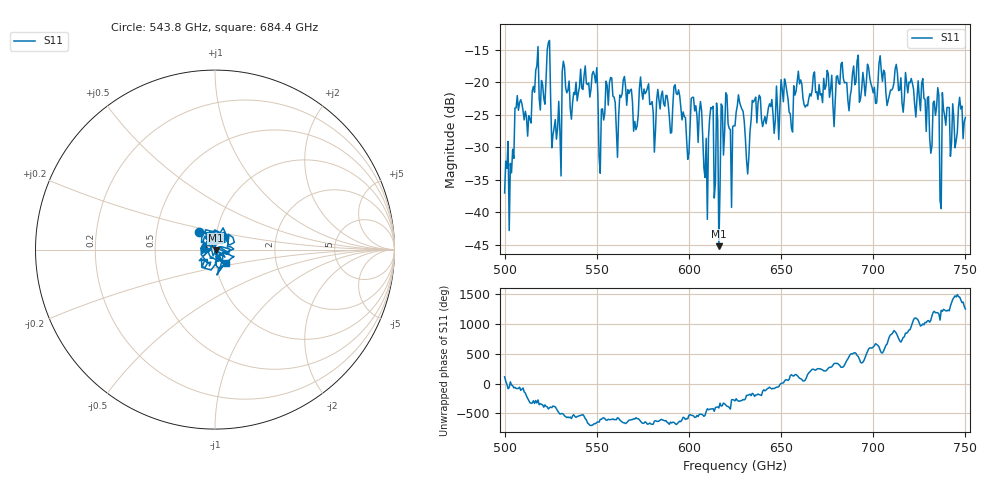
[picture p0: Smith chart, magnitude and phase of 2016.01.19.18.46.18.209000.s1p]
!Created with skrf (http://scikit-rf.org).
# GHz S RI R 50.0
!freq ReS11 ImS11
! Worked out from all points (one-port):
!   401 points, 500 GHz to 750 GHz, reference 50 ohm
!   lowest |S11| = -45.2 dB at 616.2 GHz (marker M1), VSWR 1.01, Z = 50.4 - j0.413 ohm
!   |S11| at or under -10 dB: start of sweep to end of sweep
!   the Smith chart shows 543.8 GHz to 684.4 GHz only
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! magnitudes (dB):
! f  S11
! 500 GHz  -37.0
! 503.8 GHz  -33.9
! 506.9 GHz  -22.1
! 513.1 GHz  -25.2
! 516.9 GHz  -18.2
! 523.8 GHz  -13.9
! 526.9 GHz  -27.0
! 531.2 GHz  -18.4
! 548.8 GHz  -18.9
! 552.5 GHz  -24.2
! 556.2 GHz  -23.5
! 562.5 GHz  -22.0
! 593.8 GHz  -21.9
! 599.4 GHz  -31.9
! 605.6 GHz  -24.7
! 608.8 GHz  -34.7
! 611.9 GHz  -23.9
! 616.2 GHz  -45.2
! 625 GHz  -26.7
! 631.9 GHz  -34.1
! 635 GHz  -23.1
! 656.2 GHz  -27.7
! 687.5 GHz  -22.2
! 718.8 GHz  -21.6
! 734.4 GHz  -23.8
! 737.5 GHz  -21.6
! 738.8 GHz  -25.2
! 750 GHz  -25.5
